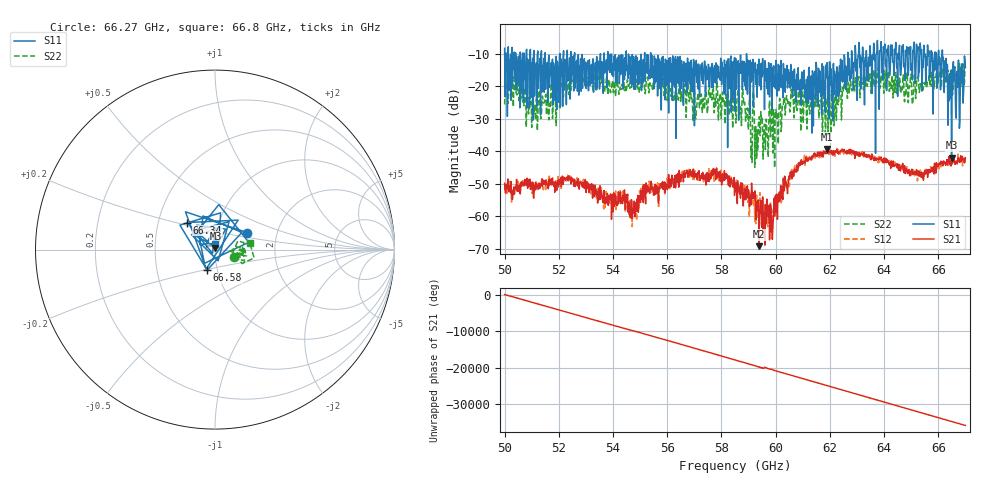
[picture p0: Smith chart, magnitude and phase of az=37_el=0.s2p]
!Created with skrf (http://scikit-rf.org).
# GHz S RI R 50.0
!freq ReS11 ImS11 ReS21 ImS21 ReS12 ImS12 ReS22 ImS22
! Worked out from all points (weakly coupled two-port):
!   1001 points, 50 GHz to 67 GHz, reference 50 ohm
!   highest |S21| = -39.25 dB at 61.9 GHz (marker M1); lowest = -69.1 dB at 59.38 GHz (marker M2)
!   lowest |S11| = -42.0 dB at 66.49 GHz (marker M3), VSWR 1.02, Z = 50.3 + j0.75 ohm
!   |S11| at or under -10 dB: 52.58 GHz to 53.54 GHz (951.4 MHz wide, 1.79 % of centre); 55.39 GHz to 62.66 GHz (7.274 GHz wide, 12.3 % of centre); 66.16 GHz to end of sweep (the widest 3 of 62)
!   |S22| runs from -45.0 to -13.0 dB; largest |S21 - S12| = 0.0024
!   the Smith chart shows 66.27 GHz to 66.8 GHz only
!   S11 on the Smith chart (normalised r, x): 66.27 GHz: 1.40, +0.28; 66.34 GHz: 0.70, +0.22; 66.58 GHz: 0.89, -0.21; 66.8 GHz: 1.00, +0.06
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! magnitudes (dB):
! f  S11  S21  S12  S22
! 50 GHz  -8.4  -49.8  -50.2  -25.6
! 50.42 GHz  -21.1  -51.3  -50.8  -21.7
! 51.16 GHz  -15.2  -51.4  -49.5  -26.6
! 52.84 GHz  -12.4  -50.3  -49.6  -20.5
! 54.79 GHz  -12.1  -55.6  -58.8  -19.0
! 55.29 GHz  -15.4  -51.8  -49.9  -18.0
! 55.68 GHz  -13.4  -56.0  -57.0  -20.9
! 56.88 GHz  -12.0  -46.2  -48.1  -23.9
! 58.5 GHz  -27.7  -49.8  -49.8  -23.4
! 59.38 GHz  -11.7  -69.1  -58.2  -31.3
! 59.84 GHz  -13.5  -64.7  -57.7  -27.8
! 60.56 GHz  -13.3  -47.3  -48.5  -22.9
! 61.34 GHz  -34.4  -41.5  -42.0  -27.6
! 61.9 GHz  -12.8  -39.3  -40.7  -23.9
! 62.55 GHz  -11.3  -40.2  -40.2  -19.1
! 64.18 GHz  -12.1  -43.6  -42.8  -17.2
! 66.27 GHz  -13.9  -44.3  -43.7  -19.0
! 66.34 GHz  -13.3  -44.1  -42.8  -16.5
! 66.49 GHz  -42.0  -43.9  -42.4  -14.9
! 66.58 GHz  -18.3  -42.5  -42.5  -15.7
! 66.8 GHz  -30.7  -43.4  -41.9  -14.1
! 67 GHz  -14.2  -42.0  -43.5  -14.1
